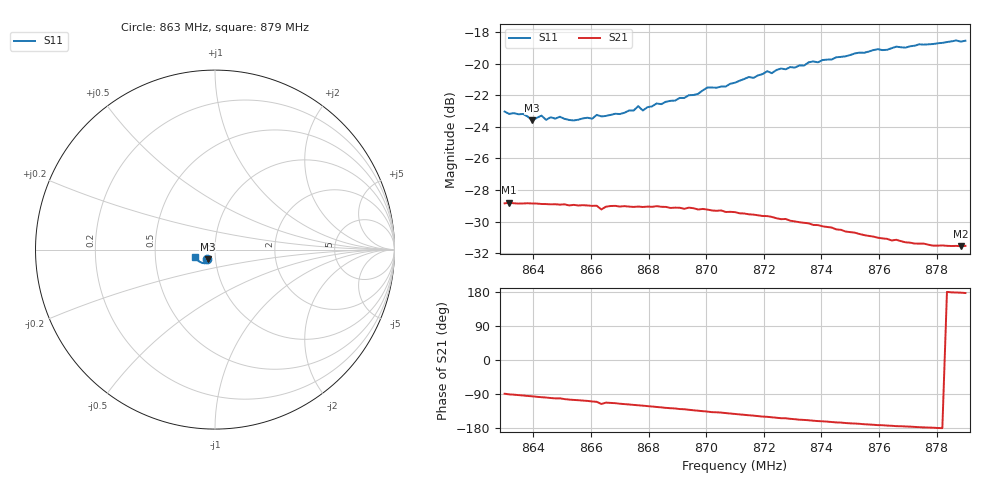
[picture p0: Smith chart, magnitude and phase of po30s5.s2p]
# HZ S RI R 50
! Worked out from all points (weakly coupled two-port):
!   101 points, 863 MHz to 879 MHz, reference 50 ohm
!   highest |S21| = -28.80 dB at 863.16 MHz (marker M1); lowest = -31.5 dB at 878.84 MHz (marker M2)
!   lowest |S11| = -23.6 dB at 863.96 MHz (marker M3), VSWR 1.14, Z = 45.9 - j4.88 ohm
!   |S11| at or under -10 dB: start of sweep to end of sweep
!   S12 and S22 are empty: the file has one direction only
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8.63e8  -0.0447 -0.0545  0.000655 -0.0361  0 0  0 0
8.6316e8  -0.0434 -0.0541  -0.000445 -0.0363  0 0  0 0
8.6364e8  -0.0429 -0.0544  -0.00231 -0.036  0 0  0 0
8.6396e8  -0.0396 -0.0529  -0.00366 -0.0359  0 0  0 0
8.6428e8  -0.0391 -0.0562  -0.00513 -0.0356  0 0  0 0
8.6444e8  -0.0392 -0.0536  -0.00565 -0.0355  0 0  0 0
8.6572e8  -0.0358 -0.0568  -0.0105 -0.0341  0 0  0 0
8.6636e8  -0.0357 -0.058  -0.0152 -0.0311  0 0  0 0
8.6668e8  -0.0359 -0.0587  -0.014 -0.0326  0 0  0 0
8.6748e8  -0.0353 -0.0617  -0.0168 -0.031  0 0  0 0
8.6764e8  -0.0371 -0.0632  -0.0174 -0.0307  0 0  0 0
8.678e8  -0.0345 -0.0621  -0.0179 -0.0303  0 0  0 0
8.6844e8  -0.0367 -0.0648  -0.0202 -0.0289  0 0  0 0
8.6972e8  -0.0399 -0.0696  -0.0239 -0.0249  0 0  0 0
8.7004e8  -0.0438 -0.0717  -0.0249 -0.024  0 0  0 0
8.71e8  -0.0472 -0.0731  -0.0269 -0.0207  0 0  0 0
8.7212e8  -0.0555 -0.0766  -0.0285 -0.0165  0 0  0 0
8.7228e8  -0.0565 -0.0742  -0.0287 -0.0158  0 0  0 0
8.7372e8  -0.068 -0.0755  -0.0291 -0.0105  0 0  0 0
8.7644e8  -0.0929 -0.0623  -0.0274 -0.00307  0 0  0 0
8.7884e8  -0.1101 -0.0406  -0.0264 0.00107  0 0  0 0
8.79e8  -0.1115 -0.0391  -0.0265 0.00149  0 0  0 0
